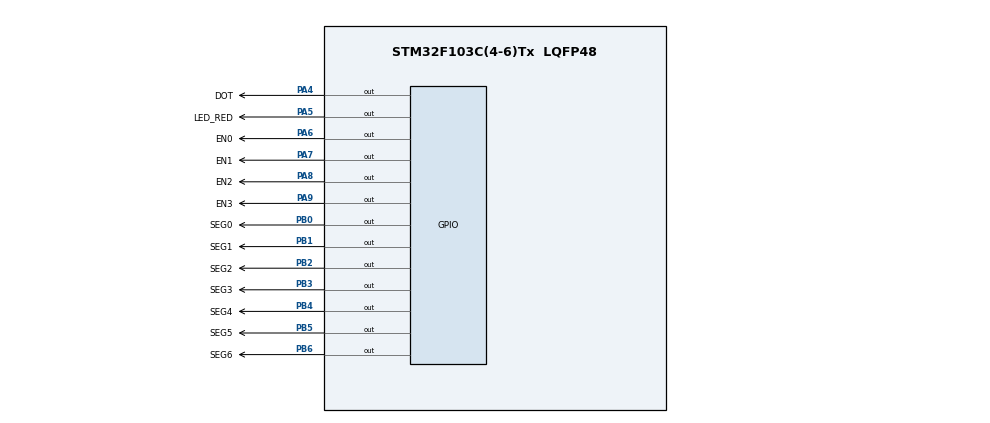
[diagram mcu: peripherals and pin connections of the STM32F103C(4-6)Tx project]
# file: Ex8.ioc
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Mcu.Family=STM32F1
Mcu.Name=STM32F103C(4-6)Tx
Mcu.Package=LQFP48
NVIC.PriorityGroup=NVIC_PRIORITYGROUP_4
NVIC.TIM2_IRQn=true\:0\:0\:false\:false\:true\:true\:true
PA4.GPIO_Label=DOT
PA4.Signal=GPIO_Output
PA5.GPIO_Label=LED_RED
PA5.Signal=GPIO_Output
PA6.GPIO_Label=EN0
PA6.Signal=GPIO_Output
PA7.GPIO_Label=EN1
PA7.Signal=GPIO_Output
PA8.GPIO_Label=EN2
PA8.Signal=GPIO_Output
PA9.GPIO_Label=EN3
PA9.Signal=GPIO_Output
PB0.GPIO_Label=SEG0
PB0.Signal=GPIO_Output
PB1.GPIO_Label=SEG1
PB1.Signal=GPIO_Output
PB2.GPIO_Label=SEG2
PB2.Signal=GPIO_Output
PB3.GPIO_Label=SEG3
PB3.Signal=GPIO_Output
PB4.GPIO_Label=SEG4
PB4.Signal=GPIO_Output
PB5.GPIO_Label=SEG5
PB5.Signal=GPIO_Output
PB6.GPIO_Label=SEG6
PB6.Signal=GPIO_Output
ProjectManager.HeapSize=0x200
ProjectManager.StackSize=0x400
ProjectManager.TargetToolchain=STM32CubeIDE
RCC.APB1Freq_Value=8000000
RCC.APB2Freq_Value=8000000
TIM2.Period=9
TIM2.Prescaler=7999
VP_SYS_VS_ND.Mode=No_Debug
VP_TIM2_VS_ClockSourceINT.Mode=Internal
board=custom

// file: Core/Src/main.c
/* USER CODE BEGIN Header */
/**
  ******************************************************************************
  * @file           : main.c
  * @brief          : Main program body
  ******************************************************************************
  * @attention
  *
  * <h2><center>&copy; Copyright (c) 2023 STMicroelectronics.
  * All rights reserved.</center></h2>
  *
  * This software component is licensed by ST under BSD 3-Clause license,
  * the "License"; You may not use this file except in compliance with the
  * License. You may obtain a copy of the License at:
  *                        opensource.org/licenses/BSD-3-Clause
  *
  ******************************************************************************
  */
/* USER CODE END Header */
#include "main.h"
#include "control.h"
#include "timer.h"

TIM_HandleTypeDef htim2;

void SystemClock_Config(void);
static void MX_GPIO_Init(void);
static void MX_TIM2_Init(void);

int main(void)
{

  /* MCU Configuration--------------------------------------------------------*/

  /* Reset of all peripherals, Initializes the Flash interface and the Systick. */
  HAL_Init();

  /* Configure the system clock */
  SystemClock_Config();

  /* Initialize all configured peripherals */
  MX_GPIO_Init();
  MX_TIM2_Init();
  HAL_TIM_Base_Start_IT(&htim2);

  setTimer_clock(250);
  setTimer_led(1000);
  clear7SEG();
  int index = 0;

  /* Infinite loop */
  /* USER CODE BEGIN WHILE */
  while (1)
    {
  	  if(clock_flag == 1){
  		  second++;
  		  if(second >= 60){
  			  second = 0;
  			  minute++;
  		  }
  		  if(minute >= 60){
  			  minute = 0;
  			  hour++;
  		  }
  		  if(hour >= 24){
  			  hour = 0;
  		  }
  		  updateClockBuffer();
  		  update7SEG(index);
  		  index++;
  		  if(index >= MAX_LED) index = 0;
  		  setTimer_clock(250);
    	  }
  	  if(led_flag == 1){
  		  HAL_GPIO_TogglePin(GPIOA, DOT_Pin | LED_RED_Pin);
  		  setTimer_led(1000);
  	  }
      /* USER CODE END WHILE */

    }
}

void SystemClock_Config(void)
{
  RCC_OscInitTypeDef RCC_OscInitStruct = {0};
  RCC_ClkInitTypeDef RCC_ClkInitStruct = {0};

  /** Initializes the RCC Oscillators according to the specified parameters
  * in the RCC_OscInitTypeDef structure.
  */
  RCC_OscInitStruct.OscillatorType = RCC_OSCILLATORTYPE_HSI;
  RCC_OscInitStruct.HSIState = RCC_HSI_ON;
  RCC_OscInitStruct.HSICalibrationValue = RCC_HSICALIBRATION_DEFAULT;
  RCC_OscInitStruct.PLL.PLLState = RCC_PLL_NONE;
  if (HAL_RCC_OscConfig(&RCC_OscInitStruct) != HAL_OK)
  {
    Error_Handler();
  }
  /** Initializes the CPU, AHB and APB buses clocks
  */
  RCC_ClkInitStruct.ClockType = RCC_CLOCKTYPE_HCLK|RCC_CLOCKTYPE_SYSCLK
                              |RCC_CLOCKTYPE_PCLK1|RCC_CLOCKTYPE_PCLK2;
  RCC_ClkInitStruct.SYSCLKSource = RCC_SYSCLKSOURCE_HSI;
  RCC_ClkInitStruct.AHBCLKDivider = RCC_SYSCLK_DIV1;
  RCC_ClkInitStruct.APB1CLKDivider = RCC_HCLK_DIV1;
  RCC_ClkInitStruct.APB2CLKDivider = RCC_HCLK_DIV1;

  if (HAL_RCC_ClockConfig(&RCC_ClkInitStruct, FLASH_LATENCY_0) != HAL_OK)
  {
    Error_Handler();
  }
}

static void MX_TIM2_Init(void)
{

  TIM_ClockConfigTypeDef sClockSourceConfig = {0};
  TIM_MasterConfigTypeDef sMasterConfig = {0};

  htim2.Instance = TIM2;
  htim2.Init.Prescaler = 7999;
  htim2.Init.CounterMode = TIM_COUNTERMODE_UP;
  htim2.Init.Period = 9;
  htim2.Init.ClockDivision = TIM_CLOCKDIVISION_DIV1;
  htim2.Init.AutoReloadPreload = TIM_AUTORELOAD_PRELOAD_DISABLE;
  if (HAL_TIM_Base_Init(&htim2) != HAL_OK)
  {
    Error_Handler();
  }
  sClockSourceConfig.ClockSource = TIM_CLOCKSOURCE_INTERNAL;
  if (HAL_TIM_ConfigClockSource(&htim2, &sClockSourceConfig) != HAL_OK)
  {
    Error_Handler();
  }
  sMasterConfig.MasterOutputTrigger = TIM_TRGO_RESET;
  sMasterConfig.MasterSlaveMode = TIM_MASTERSLAVEMODE_DISABLE;
  if (HAL_TIMEx_MasterConfigSynchronization(&htim2, &sMasterConfig) != HAL_OK)
  {
    Error_Handler();
  }

}

static void MX_GPIO_Init(void)
{
  GPIO_InitTypeDef GPIO_InitStruct = {0};

  /* GPIO Ports Clock Enable */
  __HAL_RCC_GPIOA_CLK_ENABLE();
  __HAL_RCC_GPIOB_CLK_ENABLE();

  /*Configure GPIO pin Output Level */
  HAL_GPIO_WritePin(GPIOA, DOT_Pin|LED_RED_Pin|EN0_Pin|EN1_Pin
                          |EN2_Pin|EN3_Pin, GPIO_PIN_RESET);

  /*Configure GPIO pin Output Level */
  HAL_GPIO_WritePin(GPIOB, SEG0_Pin|SEG1_Pin|SEG2_Pin|SEG3_Pin
                          |SEG4_Pin|SEG5_Pin|SEG6_Pin, GPIO_PIN_RESET);

  /*Configure GPIO pins : DOT_Pin LED_RED_Pin EN0_Pin EN1_Pin
                           EN2_Pin EN3_Pin */
  GPIO_InitStruct.Pin = DOT_Pin|LED_RED_Pin|EN0_Pin|EN1_Pin
                          |EN2_Pin|EN3_Pin;
  GPIO_InitStruct.Mode = GPIO_MODE_OUTPUT_PP;
  GPIO_InitStruct.Pull = GPIO_NOPULL;
  GPIO_InitStruct.Speed = GPIO_SPEED_FREQ_LOW;
  HAL_GPIO_Init(GPIOA, &GPIO_InitStruct);

  /*Configure GPIO pins : SEG0_Pin SEG1_Pin SEG2_Pin SEG3_Pin
                           SEG4_Pin SEG5_Pin SEG6_Pin */
  GPIO_InitStruct.Pin = SEG0_Pin|SEG1_Pin|SEG2_Pin|SEG3_Pin
                          |SEG4_Pin|SEG5_Pin|SEG6_Pin;
  GPIO_InitStruct.Mode = GPIO_MODE_OUTPUT_PP;
  GPIO_InitStruct.Pull = GPIO_NOPULL;
  GPIO_InitStruct.Speed = GPIO_SPEED_FREQ_LOW;
  HAL_GPIO_Init(GPIOB, &GPIO_InitStruct);

}

/* USER CODE BEGIN 4 */

void HAL_TIM_PeriodElapsedCallback(TIM_HandleTypeDef *htim){
	timerRun();
}
/* USER CODE END 4 */

void Error_Handler(void)
{
  __disable_irq();
  while (1)
  {
  }
}

/************************ (C) COPYRIGHT STMicroelectronics *****END OF FILE****/
